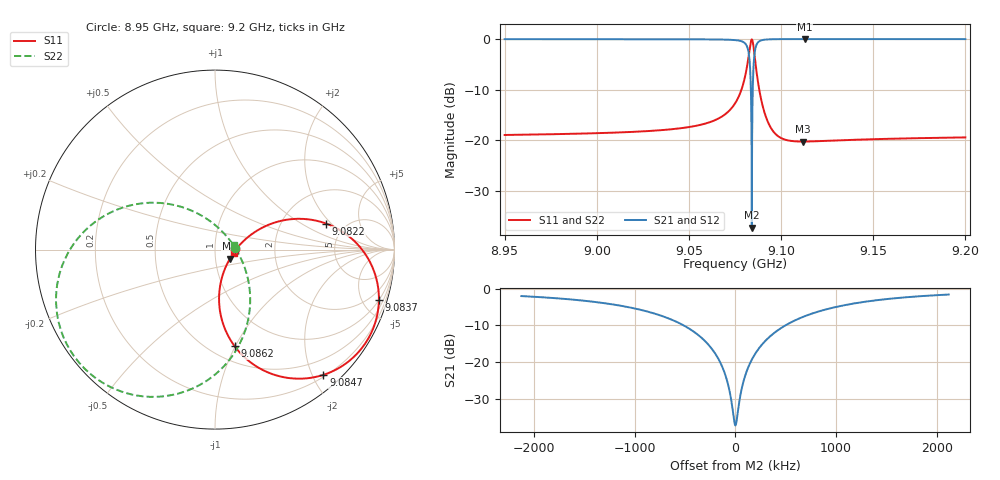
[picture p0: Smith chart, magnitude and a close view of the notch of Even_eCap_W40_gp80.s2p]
! Sonnet Data File
! From: emgraph Version : 16.52
! From Project: Resonator2_extremeCap
! Data is De-embedded
! Data File Written: 10/11/2017 17:55:30
!< HDATE 10/10/2017 20:37:37
!< MDATE 10/10/2017 20:37:37
!< PARAMS
!< Pwid1 = 2000.0
!< Pwid2 = 2000.0
!< Air_gap = 24.0
!< Width = 40.0
!< Gap = 80.0
!< END PARAMS
# GHZ S MA R 50.70000
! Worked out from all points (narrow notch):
!   1845 points, 8.95 GHz to 9.2 GHz, reference 50.7 ohm
!   highest |S21| = -0.04 dB at 9.1128 GHz (marker M1); lowest = -37.2 dB at 9.0841 GHz (marker M2)
!   notch at M2: 37.1 dB deep, 355 kHz wide at half that depth
!   lowest |S11| = -20.2 dB at 9.1118 GHz (marker M3), VSWR 1.22, Z = 59.6 - j6.07 ohm
!   |S11| at or under -10 dB: start of sweep to 9.0785 GHz; 9.0881 GHz to end of sweep
!   |S22| runs from -20.2 to -0.1 dB; largest |S21 - S12| = 0
!   S11 on the Smith chart (normalised r, x): 8.95 GHz: 1.26, +0.00; 9.0822 GHz: 3.59, +1.75; 9.0837 GHz: 1.00, -6.48; 9.0847 GHz: 0.23, -2.17; 9.0862 GHz: 0.65, -0.99; 9.2 GHz: 1.23, -0.05
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8.95  0.1131 0.8  0.9936 -88.0  0.9936 -88.0  0.1131 3.1
!< P1 F=8.95 Eeff=(6.44311072 -2.9701e-5) Z0=(50.4816225 1.16464e-4) R=0.0 C=0.0
!< P2 F=8.95 Eeff=(6.44311072 -2.9701e-5) Z0=(50.4816225 1.16464e-4) R=0.0 C=0.0
8.9918  0.1167 2.1  0.9932 -88.7  0.9932 -88.7  0.1167 0.4
9.0334  0.1255 5.8  0.9921 -89.9  0.9921 -89.9  0.1255 -5.6
9.075  0.2311 23.3  0.9726 -97.8  0.9726 -97.8  0.2308 -39.0
9.079389  0.356 24.5  0.9333 -105.8  0.9333 -105.8  0.3553 -56.5
9.082188  0.6362 13.2  0.7658 -124.8  0.7658 -124.8  0.6347 -84.0
9.083197  0.85 -2.9  0.5103 -143.6  0.5103 -143.6  0.8478 -106.9
9.083724  0.9556 -17.1  0.2535 -158.1  0.2535 -158.1  0.9531 -124.8
9.083987  0.9835 -25.7  0.09202 -162.0  0.09202 -162.0  0.9808 -135.3
9.084127  0.9875 -30.4  0.01383 -83.6  0.01383 -83.6  0.9848 -141.1
9.084219  0.9856 -33.6  0.06228 -12.1  0.06228 -12.1  0.9829 -144.9
9.084306  0.9804 -36.5  0.1188 -9.3  0.1188 -9.3  0.9777 -148.5
9.08469  0.9231 -49.1  0.3542 -18.8  0.3542 -18.8  0.9205 -164.0
9.085418  0.7376 -67.2  0.664 -38.6  0.664 -38.6  0.7354 172.0
9.086245  0.549 -78.5  0.8305 -52.9  0.8305 -52.9  0.5473 153.9
9.088836  0.2715 -85.2  0.9612 -71.0  0.9612 -71.0  0.2706 123.7
9.094426  0.1332 -68.6  0.9908 -80.6  0.9908 -80.6  0.1328 87.5
9.1118  0.09747 -31.2  0.9952 -86.0  0.9952 -86.0  0.09739 39.3
9.1128  0.09748 -30.2  0.9952 -86.1  0.9952 -86.1  0.09741 38.0
9.1168  0.09782 -26.8  0.9952 -86.5  0.9952 -86.5  0.09776 33.9
9.1584  0.1037 -14.3  0.9946 -88.4  0.9946 -88.4  0.1037 17.6
9.2  0.1071 -11.5  0.9942 -89.2  0.9942 -89.2  0.1071 13.1
